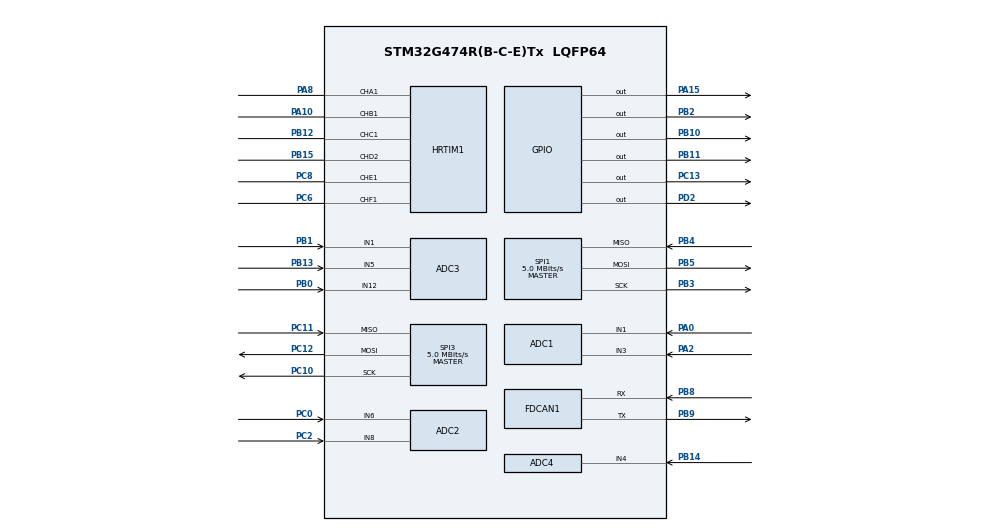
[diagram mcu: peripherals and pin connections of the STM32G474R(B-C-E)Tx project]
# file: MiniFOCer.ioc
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ADC1.Channel-0\#ChannelRegularConversion=ADC_CHANNEL_1
ADC1.Channel-1\#ChannelRegularConversion=ADC_CHANNEL_3
ADC1.ContinuousConvMode=ENABLE
ADC1.DMAContinuousRequests=ENABLE
ADC1.NbrOfConversion=2
ADC1.NbrOfConversionFlag=1
ADC1.OffsetNumber-0\#ChannelRegularConversion=ADC_OFFSET_NONE
ADC1.OffsetNumber-1\#ChannelRegularConversion=ADC_OFFSET_NONE
ADC1.OversamplingMode=ENABLE
ADC1.Rank-0\#ChannelRegularConversion=1
ADC1.Rank-1\#ChannelRegularConversion=2
ADC1.Ratio=ADC_OVERSAMPLING_RATIO_4
ADC1.RightBitShift=ADC_RIGHTBITSHIFT_2
ADC1.SamplingTime-0\#ChannelRegularConversion=ADC_SAMPLETIME_12CYCLES_5
ADC1.SamplingTime-1\#ChannelRegularConversion=ADC_SAMPLETIME_12CYCLES_5
ADC1.master=1
ADC2.Channel-1\#ChannelRegularConversion=ADC_CHANNEL_6
ADC2.Channel-2\#ChannelRegularConversion=ADC_CHANNEL_8
ADC2.ContinuousConvMode=ENABLE
ADC2.DMAContinuousRequests=ENABLE
ADC2.NbrOfConversion=2
ADC2.NbrOfConversionFlag=1
ADC2.OffsetNumber-1\#ChannelRegularConversion=ADC_OFFSET_NONE
ADC2.OffsetNumber-2\#ChannelRegularConversion=ADC_OFFSET_NONE
ADC2.OversamplingMode=ENABLE
ADC2.Rank-1\#ChannelRegularConversion=1
ADC2.Rank-2\#ChannelRegularConversion=2
ADC2.Ratio=ADC_OVERSAMPLING_RATIO_4
ADC2.RightBitShift=ADC_RIGHTBITSHIFT_2
ADC2.SamplingTime-1\#ChannelRegularConversion=ADC_SAMPLETIME_12CYCLES_5
ADC2.SamplingTime-2\#ChannelRegularConversion=ADC_SAMPLETIME_12CYCLES_5
ADC3.Channel-0\#ChannelRegularConversion=ADC_CHANNEL_1
ADC3.Channel-1\#ChannelRegularConversion=ADC_CHANNEL_5
ADC3.Channel-2\#ChannelRegularConversion=ADC_CHANNEL_12
ADC3.ContinuousConvMode=ENABLE
ADC3.DMAContinuousRequests=ENABLE
ADC3.NbrOfConversion=3
ADC3.NbrOfConversionFlag=1
ADC3.OffsetNumber-0\#ChannelRegularConversion=ADC_OFFSET_NONE
ADC3.OffsetNumber-1\#ChannelRegularConversion=ADC_OFFSET_NONE
ADC3.OffsetNumber-2\#ChannelRegularConversion=ADC_OFFSET_NONE
ADC3.Rank-0\#ChannelRegularConversion=1
ADC3.Rank-1\#ChannelRegularConversion=2
ADC3.Rank-2\#ChannelRegularConversion=3
ADC3.SamplingTime-0\#ChannelRegularConversion=ADC_SAMPLETIME_640CYCLES_5
ADC3.SamplingTime-1\#ChannelRegularConversion=ADC_SAMPLETIME_640CYCLES_5
ADC3.SamplingTime-2\#ChannelRegularConversion=ADC_SAMPLETIME_640CYCLES_5
ADC3.master=1
ADC4.Channel-0\#ChannelRegularConversion=ADC_CHANNEL_4
ADC4.ContinuousConvMode=ENABLE
ADC4.DMAContinuousRequests=ENABLE
ADC4.NbrOfConversionFlag=1
ADC4.OffsetNumber-0\#ChannelRegularConversion=ADC_OFFSET_NONE
ADC4.Rank-0\#ChannelRegularConversion=1
ADC4.SamplingTime-0\#ChannelRegularConversion=ADC_SAMPLETIME_92CYCLES_5
Dma.ADC1.0.Direction=DMA_PERIPH_TO_MEMORY
Dma.ADC1.0.EventEnable=DISABLE
Dma.ADC1.0.Instance=DMA1_Channel1
Dma.ADC1.0.MemDataAlignment=DMA_MDATAALIGN_HALFWORD
Dma.ADC1.0.MemInc=DMA_MINC_ENABLE
Dma.ADC1.0.Mode=DMA_CIRCULAR
Dma.ADC1.0.PeriphDataAlignment=DMA_PDATAALIGN_HALFWORD
Dma.ADC1.0.PeriphInc=DMA_PINC_DISABLE
Dma.ADC1.0.Polarity=HAL_DMAMUX_REQ_GEN_RISING
Dma.ADC1.0.Priority=DMA_PRIORITY_HIGH
Dma.ADC1.0.RequestNumber=1
Dma.ADC1.0.SignalID=NONE
Dma.ADC1.0.SyncEnable=DISABLE
Dma.ADC1.0.SyncPolarity=HAL_DMAMUX_SYNC_NO_EVENT
Dma.ADC1.0.SyncRequestNumber=1
Dma.ADC1.0.SyncSignalID=NONE
Dma.ADC2.1.Direction=DMA_PERIPH_TO_MEMORY
Dma.ADC2.1.EventEnable=DISABLE
Dma.ADC2.1.Instance=DMA2_Channel1
Dma.ADC2.1.MemDataAlignment=DMA_MDATAALIGN_HALFWORD
Dma.ADC2.1.MemInc=DMA_MINC_ENABLE
Dma.ADC2.1.Mode=DMA_CIRCULAR
Dma.ADC2.1.PeriphDataAlignment=DMA_PDATAALIGN_HALFWORD
Dma.ADC2.1.PeriphInc=DMA_PINC_DISABLE
Dma.ADC2.1.Polarity=HAL_DMAMUX_REQ_GEN_RISING
Dma.ADC2.1.Priority=DMA_PRIORITY_HIGH
Dma.ADC2.1.RequestNumber=1
Dma.ADC2.1.SignalID=NONE
Dma.ADC2.1.SyncEnable=DISABLE
Dma.ADC2.1.SyncPolarity=HAL_DMAMUX_SYNC_NO_EVENT
Dma.ADC2.1.SyncRequestNumber=1
Dma.ADC2.1.SyncSignalID=NONE
Dma.ADC3.2.Direction=DMA_PERIPH_TO_MEMORY
Dma.ADC3.2.EventEnable=DISABLE
Dma.ADC3.2.Instance=DMA1_Channel2
Dma.ADC3.2.MemDataAlignment=DMA_MDATAALIGN_HALFWORD
Dma.ADC3.2.MemInc=DMA_MINC_ENABLE
Dma.ADC3.2.Mode=DMA_CIRCULAR
Dma.ADC3.2.PeriphDataAlignment=DMA_PDATAALIGN_HALFWORD
Dma.ADC3.2.PeriphInc=DMA_PINC_DISABLE
Dma.ADC3.2.Polarity=HAL_DMAMUX_REQ_GEN_RISING
Dma.ADC3.2.Priority=DMA_PRIORITY_LOW
Dma.ADC3.2.RequestNumber=1
Dma.ADC3.2.SignalID=NONE
Dma.ADC3.2.SyncEnable=DISABLE
Dma.ADC3.2.SyncPolarity=HAL_DMAMUX_SYNC_NO_EVENT
Dma.ADC3.2.SyncRequestNumber=1
Dma.ADC3.2.SyncSignalID=NONE
Dma.ADC4.3.Direction=DMA_PERIPH_TO_MEMORY
Dma.ADC4.3.EventEnable=DISABLE
Dma.ADC4.3.Instance=DMA2_Channel2
Dma.ADC4.3.MemDataAlignment=DMA_MDATAALIGN_HALFWORD
Dma.ADC4.3.MemInc=DMA_MINC_ENABLE
Dma.ADC4.3.Mode=DMA_CIRCULAR
Dma.ADC4.3.PeriphDataAlignment=DMA_PDATAALIGN_HALFWORD
Dma.ADC4.3.PeriphInc=DMA_PINC_DISABLE
Dma.ADC4.3.Polarity=HAL_DMAMUX_REQ_GEN_RISING
Dma.ADC4.3.Priority=DMA_PRIORITY_LOW
Dma.ADC4.3.RequestNumber=1
Dma.ADC4.3.SignalID=NONE
Dma.ADC4.3.SyncEnable=DISABLE
Dma.ADC4.3.SyncPolarity=HAL_DMAMUX_SYNC_NO_EVENT
Dma.ADC4.3.SyncRequestNumber=1
Dma.ADC4.3.SyncSignalID=NONE
Dma.Request0=ADC1
Dma.Request1=ADC2
Dma.Request2=ADC3
Dma.Request3=ADC4
FDCAN1.CalculateBaudRateNominal=1000000
FDCAN1.CalculateTimeBitNominal=1000
FDCAN1.CalculateTimeQuantumNominal=31.25
FDCAN1.DataSyncJumpWidth=7
FDCAN1.DataTimeSeg1=23
FDCAN1.DataTimeSeg2=8
FDCAN1.NominalPrescaler=5
FDCAN1.NominalSyncJumpWidth=7
FDCAN1.NominalTimeSeg1=23
FDCAN1.NominalTimeSeg2=8
HRTIM1.CompareUnit1-Output_TA1=HRTIM_COMPAREUNIT_1
HRTIM1.CompareUnit1-Output_TB1=HRTIM_COMPAREUNIT_1
HRTIM1.CompareUnit1-Output_TC1=HRTIM_COMPAREUNIT_1
HRTIM1.CompareUnit1-Output_TD2=HRTIM_COMPAREUNIT_1
HRTIM1.CompareUnit1-Output_TE1=HRTIM_COMPAREUNIT_1
HRTIM1.CompareUnit1-Output_TF1=HRTIM_COMPAREUNIT_1
HRTIM1.CompareUnit2-Output_TD2=__NULL
HRTIM1.CompareUnit3-Output_TA1=HRTIM_COMPAREUNIT_3
HRTIM1.CompareUnit3-Output_TB1=HRTIM_COMPAREUNIT_3
HRTIM1.CompareUnit3-Output_TC1=HRTIM_COMPAREUNIT_3
HRTIM1.CompareUnit3-Output_TD2=HRTIM_COMPAREUNIT_3
HRTIM1.CompareUnit3-Output_TE1=HRTIM_COMPAREUNIT_3
HRTIM1.CompareUnit3-Output_TF1=HRTIM_COMPAREUNIT_3
HRTIM1.InterruptRequests1-Output_TA1=HRTIM_TIM_IT_UPD
HRTIM1.NumberFaultEnable-Output_TF1=0
HRTIM1.NumberInterruptRequests-Output_TA1=1
HRTIM1.NumberResetSource1-Output_TA1=1
HRTIM1.NumberResetSource1-Output_TB1=1
HRTIM1.NumberResetSource1-Output_TC1=1
HRTIM1.NumberResetSource1-Output_TE1=1
HRTIM1.NumberResetSource1-Output_TF1=1
HRTIM1.NumberResetSource2-Output_TD2=1
HRTIM1.NumberSetSource1-Output_TA1=1
HRTIM1.NumberSetSource1-Output_TB1=1
HRTIM1.NumberSetSource1-Output_TC1=1
HRTIM1.NumberSetSource1-Output_TE1=1
HRTIM1.NumberSetSource1-Output_TF1=1
HRTIM1.NumberSetSource2-Output_TD2=1
HRTIM1.NumberUpdateTrigger-Output_TA1=0
HRTIM1.NumberUpdateTrigger-Output_TB1=0
HRTIM1.NumberUpdateTrigger-Output_TD2=0
HRTIM1.NumberUpdateTrigger-Output_TE1=0
HRTIM1.NumberUpdateTrigger-Output_TF1=0
HRTIM1.Periode_MASTER=63999
HRTIM1.Periode_TA=63999
HRTIM1.Periode_TB=63999
HRTIM1.Periode_TC=63999
HRTIM1.Periode_TD=63999
HRTIM1.Periode_TE=63999
HRTIM1.Periode_TF=63999
HRTIM1.PreloadEnable-Output_TA1=HRTIM_PRELOAD_ENABLED
HRTIM1.PreloadEnable-Output_TB1=HRTIM_PRELOAD_ENABLED
HRTIM1.PreloadEnable-Output_TC1=HRTIM_PRELOAD_ENABLED
HRTIM1.PreloadEnable-Output_TD2=HRTIM_PRELOAD_ENABLED
HRTIM1.PreloadEnable-Output_TE1=HRTIM_PRELOAD_ENABLED
HRTIM1.PreloadEnable-Output_TF1=HRTIM_PRELOAD_ENABLED
HRTIM1.PrescalerRatio_MASTER=HRTIM_PRESCALERRATIO_MUL8
HRTIM1.PrescalerRatio_TA=HRTIM_PRESCALERRATIO_MUL8
HRTIM1.PrescalerRatio_TB=HRTIM_PRESCALERRATIO_MUL8
HRTIM1.PrescalerRatio_TC=HRTIM_PRESCALERRATIO_MUL8
HRTIM1.PrescalerRatio_TD=HRTIM_PRESCALERRATIO_MUL8
HRTIM1.PrescalerRatio_TE=HRTIM_PRESCALERRATIO_MUL8
HRTIM1.PrescalerRatio_TF=HRTIM_PRESCALERRATIO_MUL8
HRTIM1.RepetitionCounter-Output_TA1=0
HRTIM1.RepetitionCounter-Output_TB1=0
HRTIM1.RepetitionCounter-Output_TC1=0
HRTIM1.RepetitionCounter-Output_TD2=0
HRTIM1.RepetitionCounter-Output_TE1=0
HRTIM1.RepetitionCounter-Output_TF1=0
HRTIM1.RepetitionUpdate-Output_TA1=HRTIM_UPDATEONREPETITION_ENABLED
HRTIM1.RepetitionUpdate-Output_TB1=HRTIM_UPDATEONREPETITION_ENABLED
HRTIM1.RepetitionUpdate-Output_TC1=HRTIM_UPDATEONREPETITION_ENABLED
HRTIM1.RepetitionUpdate-Output_TD2=HRTIM_UPDATEONREPETITION_ENABLED
HRTIM1.RepetitionUpdate-Output_TE1=HRTIM_UPDATEONREPETITION_ENABLED
HRTIM1.RepetitionUpdate-Output_TF1=HRTIM_UPDATEONREPETITION_ENABLED
HRTIM1.ResetOutput1_Source1-Output_TA1=HRTIM_OUTPUTRESET_TIMCMP3
HRTIM1.ResetOutput1_Source1-Output_TB1=HRTIM_OUTPUTRESET_TIMCMP3
HRTIM1.ResetOutput1_Source1-Output_TC1=HRTIM_OUTPUTRESET_TIMCMP3
HRTIM1.ResetOutput1_Source1-Output_TE1=HRTIM_OUTPUTRESET_TIMCMP3
HRTIM1.ResetOutput1_Source1-Output_TF1=HRTIM_OUTPUTRESET_TIMCMP3
HRTIM1.ResetOutput2_Source1-Output_TD2=HRTIM_OUTPUTRESET_TIMCMP3
HRTIM1.ResetUpdate-Output_TA1=HRTIM_TIMUPDATEONRESET_DISABLED
HRTIM1.SetOutput1_Source1-Output_TA1=HRTIM_OUTPUTSET_TIMCMP1
HRTIM1.SetOutput1_Source1-Output_TB1=HRTIM_OUTPUTSET_TIMCMP1
HRTIM1.SetOutput1_Source1-Output_TC1=HRTIM_OUTPUTSET_TIMCMP1
HRTIM1.SetOutput1_Source1-Output_TE1=HRTIM_OUTPUTSET_TIMCMP1
HRTIM1.SetOutput1_Source1-Output_TF1=HRTIM_OUTPUTSET_TIMCMP1
HRTIM1.SetOutput2_Source1-Output_TD2=HRTIM_OUTPUTSET_TIMCMP1
Mcu.Family=STM32G4
Mcu.Name=STM32G474R(B-C-E)Tx
Mcu.Package=LQFP64
NVIC.FDCAN1_IT0_IRQn=true\:10\:0\:true\:false\:true\:true\:true\:true
NVIC.HRTIM1_TIMA_IRQn=true\:1\:0\:true\:false\:true\:true\:true\:true
NVIC.PriorityGroup=NVIC_PRIORITYGROUP_4
NVIC.SPI1_IRQn=true\:0\:0\:false\:false\:true\:true\:true\:true
NVIC.SPI3_IRQn=true\:0\:0\:false\:false\:true\:true\:true\:true
NVIC.TIM6_DAC_IRQn=true\:0\:0\:false\:false\:true\:true\:true\:true
NVIC.TIM7_DAC_IRQn=true\:0\:0\:false\:false\:true\:true\:true\:true
PA0.Mode=IN1-Single-Ended
PA0.Signal=ADC1_IN1
PA10.Mode=Output_TB1
PA10.Signal=HRTIM1_CHB1
PA13.Mode=Serial_Wire
PA13.Signal=SYS_JTMS-SWDIO
PA14.Mode=Serial_Wire
PA14.Signal=SYS_JTCK-SWCLK
PA15.PinState=GPIO_PIN_SET
PA15.Signal=GPIO_Output
PA2.Mode=IN3-Single-Ended
PA2.Signal=ADC1_IN3
PA8.Mode=Output_TA1
PA8.Signal=HRTIM1_CHA1
PB0.Mode=IN12-Single-Ended
PB0.Signal=ADC3_IN12
PB1.Mode=IN1-Single-Ended
PB1.Signal=ADC3_IN1
PB10.Signal=GPIO_Output
PB11.Signal=GPIO_Output
PB12.Mode=Output_TC1
PB12.Signal=HRTIM1_CHC1
PB13.Mode=IN5-Single-Ended
PB13.Signal=ADC3_IN5
PB14.Mode=IN4-Single-Ended
PB14.Signal=ADC4_IN4
PB15.Mode=Output_TD2
PB15.Signal=HRTIM1_CHD2
PB2.PinState=GPIO_PIN_SET
PB2.Signal=GPIO_Output
PB3.Mode=Full_Duplex_Master
PB3.Signal=SPI1_SCK
PB4.Mode=Full_Duplex_Master
PB4.Signal=SPI1_MISO
PB5.Mode=Full_Duplex_Master
PB5.Signal=SPI1_MOSI
PB8-BOOT0.Mode=FDCAN_Activate
PB8-BOOT0.Signal=FDCAN1_RX
PB9.Mode=FDCAN_Activate
PB9.Signal=FDCAN1_TX
PC0.Mode=IN6-Single-Ended
PC0.Signal=ADC2_IN6
PC10.Mode=Full_Duplex_Master
PC10.Signal=SPI3_SCK
PC11.Mode=Full_Duplex_Master
PC11.Signal=SPI3_MISO
PC12.Mode=Full_Duplex_Master
PC12.Signal=SPI3_MOSI
PC13.PinState=GPIO_PIN_SET
PC13.Signal=GPIO_Output
PC2.Mode=IN8-Single-Ended
PC2.Signal=ADC2_IN8
PC6.Mode=Output_TF1
PC6.Signal=HRTIM1_CHF1
PC8.Mode=Output_TE1
PC8.Signal=HRTIM1_CHE1
PD2.PinState=GPIO_PIN_SET
PD2.Signal=GPIO_Output
ProjectManager.HeapSize=0x200
ProjectManager.StackSize=0x400
ProjectManager.TargetToolchain=CMake
RCC.ADC12Freq_Value=160000000
RCC.ADC345Freq_Value=160000000
RCC.AHBFreq_Value=160000000
RCC.APB1Freq_Value=160000000
RCC.APB1TimFreq_Value=160000000
RCC.APB2Freq_Value=160000000
RCC.APB2TimFreq_Value=160000000
RCC.CortexFreq_Value=160000000
RCC.EXTERNAL_CLOCK_VALUE=12288000
RCC.HCLKFreq_Value=160000000
RCC.HSE_VALUE=8000000
RCC.HSI48_VALUE=48000000
RCC.HSI_VALUE=16000000
RCC.LSE_VALUE=32768
RCC.PLLN=20
RCC.SYSCLKFreq_VALUE=160000000
RCC.SYSCLKSource=RCC_SYSCLKSOURCE_PLLCLK
RCC.USBFreq_Value=160000000
RCC.VCOOutputFreq_Value=320000000
SPI1.BaudRatePrescaler=SPI_BAUDRATEPRESCALER_32
SPI1.CLKPhase=SPI_PHASE_2EDGE
SPI1.CLKPolarity=SPI_POLARITY_HIGH
SPI1.CalculateBaudRate=5.0 MBits/s
SPI1.DataSize=SPI_DATASIZE_16BIT
SPI1.Direction=SPI_DIRECTION_2LINES
SPI1.Mode=SPI_MODE_MASTER
SPI1.VirtualType=VM_MASTER
SPI3.BaudRatePrescaler=SPI_BAUDRATEPRESCALER_32
SPI3.CLKPhase=SPI_PHASE_2EDGE
SPI3.CLKPolarity=SPI_POLARITY_HIGH
SPI3.CalculateBaudRate=5.0 MBits/s
SPI3.DataSize=SPI_DATASIZE_16BIT
SPI3.Direction=SPI_DIRECTION_2LINES
SPI3.Mode=SPI_MODE_MASTER
SPI3.VirtualType=VM_MASTER
TIM2.Prescaler=159
TIM6.PeriodNoDither=999
TIM6.Prescaler=15999
TIM7.PeriodNoDither=999
TIM7.Prescaler=15999
VP_HRTIM1_VS_hrtimMasterTimerNoOutput.Mode=MasterTimer
VP_SYS_VS_DBSignals.Mode=DisableDeadBatterySignals
VP_TIM2_VS_ClockSourceINT.Mode=Internal
VP_TIM6_VS_ClockSourceINT.Mode=Enable_Timer
VP_TIM7_VS_ClockSourceINT.Mode=Enable_Timer
VREF+.Mode=InternalMode
VREF+.Signal=VREFBUF_OUT
board=custom

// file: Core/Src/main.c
/* USER CODE BEGIN Header */
/**
  ******************************************************************************
  * @file           : main.c
  * @brief          : Main program body
  ******************************************************************************
  * @attention
  *
  * Copyright (c) 2025 STMicroelectronics.
  * All rights reserved.
  *
  * This software is licensed under terms that can be found in the LICENSE file
  * in the root directory of this software component.
  * If no LICENSE file comes with this software, it is provided AS-IS.
  *
  ******************************************************************************
  */
/* USER CODE END Header */
#include "main.h"
#include "adc.h"
#include "dma.h"
#include "fdcan.h"
#include "hrtim.h"
#include "spi.h"
#include "tim.h"
#include "gpio.h"

/* USER CODE BEGIN Includes */
#include <math.h>
#include <string.h>
#include <stdbool.h>
#include <stdlib.h>
#include "defines.h"
#include "FastMath.h"
#include "FOC.h"
#include "A1333.h"
#include "CANBuf.h"
/* USER CODE END Includes */

/* USER CODE BEGIN PTD */
typedef struct
{
  uint8_t n_poles;
  float kv, Res, Ind;
  uint16_t encoder_os;
} motor_t;
/* USER CODE END PTD */

/* USER CODE BEGIN PV */
FDCAN_RxHeaderTypeDef RxHeader;
uint8_t RxData[64];
FDCAN_TxHeaderTypeDef TxHeader;
uint8_t TxData[64];

// FOC variables
FOC_data* FOC1;
FOC_data* FOC2;

// Motor variables
volatile float TargetCurrent1 = 2.0f, TargetCurrent2 = 2.0f;
float MaxCurrent = 20.0f, MaxAbsCurrent = 40.0f;
motor_t motor_1 = {
  .Ind = 120e-6,
  .Res = 0.26,
  .kv = 360,
  .n_poles = 7,
};
motor_t motor_2 = {
  .Ind = 120e-6,
  .Res = 0.26,
  .kv = 360,
  .n_poles = 7,
};

// Power status variables
float V_bus = 0.0f, V_drv = 0.0f;
float UVLO_thresh = 12.0f, UVLO_hyst = 0.5f;

// Encoders
#ifdef CAN_CONFIG_2
A1333_t encoder_2 = {
  .SPIx = SPI3,
  .CS_Port = GPIOA,
  .CS_Pin = LL_GPIO_PIN_15,
  .micros = &(TIM2->CNT),
};
A1333_t encoder_1 = {
  .SPIx = SPI1,
  .CS_Port = GPIOD,
  .CS_Pin = LL_GPIO_PIN_2,
  .micros = &(TIM2->CNT),
};
#else
A1333_t encoder_1 = {
  .SPIx = SPI3,
  .CS_Port = GPIOA,
  .CS_Pin = LL_GPIO_PIN_15,
  .micros = &(TIM2->CNT),
};
A1333_t encoder_2 = {
  .SPIx = SPI1,
  .CS_Port = GPIOD,
  .CS_Pin = LL_GPIO_PIN_2,
  .micros = &(TIM2->CNT),
};
#endif

// ADC variables
volatile int16_t adc_data[64];
volatile int16_t adc_os[64] = {0};

// timing stuff
uint32_t micros = 0;
volatile bool wait = true;

// CANBus stuff
volatile uint8_t sendCANBus_flag = 0;
CAN_flagBuf CAN_TxBuffer = {0};

// For fun
bool audio_enable_1 = false, audio_enable_2 = false;

// Errors
volatile uint8_t errors = 0;

/* USER CODE END PV */

void SystemClock_Config(void);
/* USER CODE BEGIN PFP */
void resetGateDriver(uint8_t motor);
void disableGateDriver(uint8_t motor);
void writePwm(uint32_t timer, int32_t duty);
void measureEncoderOs(uint8_t motor, float TestCurrent);
void measureMotorKv(uint8_t motor, float TestCurrent);
/* USER CODE END PFP */

int main(void)
{

  /* USER CODE BEGIN 1 */
  // SystemClock_Config();
  // LL_mDelay(1000);
  /* USER CODE END 1 */

  /* MCU Configuration--------------------------------------------------------*/

  /* Reset of all peripherals, Initializes the Flash interface and the Systick. */
  HAL_Init();

  /* Configure the system clock */
  SystemClock_Config();

  /* USER CODE BEGIN SysInit */
  LL_SYSCFG_EnableAnalogBooster();
  /* USER CODE END SysInit */

  /* Initialize all configured peripherals */
  MX_GPIO_Init();
  MX_DMA_Init();
  MX_HRTIM1_Init();
  MX_SPI3_Init();
  MX_ADC1_Init();
  MX_ADC2_Init();
  MX_ADC3_Init();
  MX_FDCAN1_Init();
  MX_SPI1_Init();
  MX_ADC4_Init();
  MX_TIM2_Init();
  MX_TIM6_Init();
  MX_TIM7_Init();
  /* USER CODE BEGIN 2 */
  disableGateDriver(3);

  // allocate memory on heap for FOC data
  FOC1 = (FOC_data*)malloc(sizeof(FOC_data));
  FOC2 = (FOC_data*)malloc(sizeof(FOC_data));
  if (FOC1 == NULL || FOC2 == NULL) {
    // Handle memory allocation failure
    disableGateDriver(3);
    while (1);
  }

  // Disable FPU lazy context save
  FPU->FPCCR &= ~FPU_FPCCR_LSPEN_Msk;

  // Init DWT delay
  CoreDebug->DEMCR |= CoreDebug_DEMCR_TRCENA_Msk;
  DWT->CYCCNT = 0;  // Reset counter
  DWT->CTRL |= DWT_CTRL_CYCCNTENA_Msk;

  // Enable microsecond counter
  LL_TIM_EnableCounter(TIM2);

  // Encoder setup
  A1333_Init(&encoder_1);
  A1333_Init(&encoder_2);

  // Enable ADC1 (motor 2 phase current sensors) with DMA
  LL_ADC_Enable(ADC1);
  while (!LL_ADC_IsActiveFlag_ADRDY(ADC1));
  LL_DMA_SetPeriphAddress(DMA1, LL_DMA_CHANNEL_1, (uint32_t)&ADC1->DR);
  LL_DMA_SetMemoryAddress(DMA1, LL_DMA_CHANNEL_1, (uint32_t)&adc_data[0]);
  LL_DMA_SetDataLength(DMA1, LL_DMA_CHANNEL_1, 2);
  LL_DMA_EnableChannel(DMA1, LL_DMA_CHANNEL_1);
  LL_ADC_REG_StartConversion(ADC1);

  // Enable ADC2 (motor 1 phase current sensors) with DMA
  LL_ADC_Enable(ADC2);
  while (!LL_ADC_IsActiveFlag_ADRDY(ADC2));
  LL_DMA_SetPeriphAddress(DMA2, LL_DMA_CHANNEL_1, (uint32_t)&ADC2->DR);
  LL_DMA_SetMemoryAddress(DMA2, LL_DMA_CHANNEL_1, (uint32_t)&adc_data[2]);
  LL_DMA_SetDataLength(DMA2, LL_DMA_CHANNEL_1, 2);
  LL_DMA_EnableChannel(DMA2, LL_DMA_CHANNEL_1);
  LL_ADC_REG_StartConversion(ADC2);

  // Enable ADC3 (bus and drive voltage, audio 1) with DMA
  LL_ADC_Enable(ADC3);
  while (!LL_ADC_IsActiveFlag_ADRDY(ADC3));
  LL_DMA_SetPeriphAddress(DMA1, LL_DMA_CHANNEL_2, (uint32_t)&ADC3->DR);
  LL_DMA_SetMemoryAddress(DMA1, LL_DMA_CHANNEL_2, (uint32_t)&adc_data[4]);
  LL_DMA_SetDataLength(DMA1, LL_DMA_CHANNEL_2, 3);
  LL_DMA_EnableChannel(DMA1, LL_DMA_CHANNEL_2);
  LL_ADC_REG_StartConversion(ADC3);

  // Enable ADC4 (audio 2) with DMA
  LL_ADC_Enable(ADC4);
  while (!LL_ADC_IsActiveFlag_ADRDY(ADC4));
  LL_DMA_SetPeriphAddress(DMA2, LL_DMA_CHANNEL_2, (uint32_t)&ADC4->DR);
  LL_DMA_SetMemoryAddress(DMA2, LL_DMA_CHANNEL_2, (uint32_t)&adc_data[7]);
  LL_DMA_SetDataLength(DMA2, LL_DMA_CHANNEL_2, 1);
  LL_DMA_EnableChannel(DMA2, LL_DMA_CHANNEL_2);
  LL_ADC_REG_StartConversion(ADC4);

  // CANbus setup
  TxHeader.BitRateSwitch = FDCAN_BRS_OFF;
  TxHeader.DataLength = FDCAN_DLC_BYTES_8;
  TxHeader.ErrorStateIndicator = FDCAN_ESI_ACTIVE;
  TxHeader.FDFormat = FDCAN_CLASSIC_CAN;
  TxHeader.Identifier = CAN_STAT1_ID;
  TxHeader.IdType = FDCAN_EXTENDED_ID;
  TxHeader.MessageMarker = 0;
  TxHeader.TxEventFifoControl = FDCAN_NO_TX_EVENTS;
  TxHeader.TxFrameType = FDCAN_DATA_FRAME;
  CAN_TxBuffer.bot = 0;
  CAN_TxBuffer.top = 0;

  // calculate DC bus and gate drive voltage
  LL_mDelay(10);
  V_bus = (float)adc_data[6] * 0.008f;
  V_drv = (float)adc_data[4] * 0.008f;

  // initialize FOC variables
  FOC1->integ_d = 0.0f;
  FOC1->integ_q = 0.0f;
  FOC1->motor_speed = 0.0f;
  FOC1->TargetCurrent = 0.0f;
  FOC1->TargetFieldWk = 0.0f;
  FOC1->U_TIMER = U1_TIMER;
  FOC1->V_TIMER = V1_TIMER;
  FOC1->W_TIMER = W1_TIMER;
  FOC1->motor_kv = 0.1911f; FOC1->V_bus = 14.8f;
  FOC2->integ_d = 0.0f;
  FOC2->integ_q = 0.0f;
  FOC2->motor_speed = 0.0f;
  FOC2->TargetCurrent = 0.0f;
  FOC2->TargetFieldWk = 0.0f;
  FOC2->U_TIMER = U2_TIMER;
  FOC2->V_TIMER = V2_TIMER;
  FOC2->W_TIMER = W2_TIMER;
  FOC2->motor_kv = 0.1911f; FOC2->V_bus = 14.8f;
  // FOC1->Kp_Iq = (80000 >> FOC1->F_sw) * motor_1.Ind / V_bus;
  // FOC1->Ki_Iq = (80000 >> FOC1->F_sw) * motor_1.Res / V_bus;
  // FOC2->Kp_Iq = (80000 >> FOC2->F_sw) * motor_2.Ind / V_bus;
  // FOC2->Ki_Iq = (80000 >> FOC2->F_sw) * motor_2.Res / V_bus;
  // FOC1->Kp_Id = (80000 >> FOC1->F_sw) * motor_1.Ind / V_bus;
  // FOC1->Ki_Id = (80000 >> FOC1->F_sw) * motor_1.Res / V_bus;
  // FOC2->Kp_Id = (80000 >> FOC2->F_sw) * motor_2.Ind / V_bus;
  // FOC2->Ki_Id = (80000 >> FOC2->F_sw) * motor_2.Res / V_bus;
  FOC1->Kp_Iq = 0.05f;
  FOC1->Ki_Iq = 100.0f;
  FOC2->Kp_Iq = 0.05f;
  FOC2->Ki_Iq = 100.0f;
  FOC1->Kp_Id = 0.05f;
  FOC1->Ki_Id = 100.0f;
  FOC2->Kp_Id = 0.05f;
  FOC2->Ki_Id = 100.0f;

  // measure ADC offset
  for (uint16_t i = 0; i < 100; i++){
    LL_mDelay(10);
    adc_os[0] = (adc_os[0]*3 + adc_data[0] + 2) >> 2;
    adc_os[1] = (adc_os[1]*3 + adc_data[1] + 2) >> 2;
    adc_os[2] = (adc_os[2]*3 + adc_data[2] + 2) >> 2;
    adc_os[3] = (adc_os[3]*3 + adc_data[3] + 2) >> 2;
    adc_os[4] = (adc_os[4]*3 + adc_data[4] + 2) >> 2;
    adc_os[5] = (adc_os[5]*3 + adc_data[5] + 2) >> 2;
    adc_os[6] = (adc_os[6]*3 + adc_data[6] + 2) >> 2;
    adc_os[7] = (adc_os[7]*3 + adc_data[7] + 2) >> 2;
  }

  // Enable HRTIM (gate drive signals)
  FOC1->F_sw = LL_HRTIM_TIM_GetPrescaler(HRTIM1, U1_TIMER);
  FOC2->F_sw = LL_HRTIM_TIM_GetPrescaler(HRTIM1, U2_TIMER);
  writePwm(U1_TIMER, 0);
  writePwm(V1_TIMER, 0);
  writePwm(W1_TIMER, 0);
  writePwm(U2_TIMER, 0);
  writePwm(V2_TIMER, 0);
  writePwm(W2_TIMER, 0);
  LL_HRTIM_EnableOutput(HRTIM1,
    LL_HRTIM_OUTPUT_TA1|
    LL_HRTIM_OUTPUT_TB1|
    LL_HRTIM_OUTPUT_TC1|
    LL_HRTIM_OUTPUT_TD2|
    LL_HRTIM_OUTPUT_TE1|
    LL_HRTIM_OUTPUT_TF1
  );
  LL_HRTIM_TIM_CounterEnable(HRTIM1, LL_HRTIM_TIMER_MASTER
    |U1_TIMER|V1_TIMER|W1_TIMER
    |U2_TIMER|V2_TIMER|W2_TIMER
  );

  // enable HRTIM timer A interrupt(FOC calculations)
  LL_HRTIM_EnableIT_UPDATE(HRTIM1, LL_HRTIM_TIMER_A);

  // LL_mDelay(500);
  measureEncoderOs(3, 5);
  // measureMotorKv(3, 10);
  resetGateDriver(3);
  HAL_FDCAN_Start(&hfdcan1);
  HAL_FDCAN_ActivateNotification(&hfdcan1, FDCAN_IT_RX_FIFO0_NEW_MESSAGE, 0);
  /* USER CODE END 2 */

  /* Infinite loop */
  /* USER CODE BEGIN WHILE */
  // Enable drive-enable timeout counters
  LL_TIM_EnableIT_UPDATE(TIM6);
  LL_TIM_EnableCounter(TIM6);
  LL_TIM_EnableIT_UPDATE(TIM7);
  LL_TIM_EnableCounter(TIM7);
  uint32_t lastCanSendTime = 0;
  while (1)
  {
    micros = TIM2->CNT;

    // calculate DC bus and gate drive voltage
    V_bus = (float)adc_data[6] * 0.008f;
    V_drv = (float)adc_data[4] * 0.008f;

    // move encoder info to FOC struct
    __disable_irq();
    __ASM("nop");
    __ASM("nop");
    __ASM("nop");
    __ASM("nop");
    __ASM("nop");
    wait = true;
    FOC1->motor_PhysPosition = encoder_1.angle;
    FOC1->motor_lastMeasTime = encoder_1.sampleTime;
    FOC1->motor_speed = encoder_1.speed;
    FOC1->TargetCurrent = -TargetCurrent1 - audio_enable_1 * (adc_data[7] - adc_os[7]) * 0.01f;
    FOC1->TargetFieldWk = 0.0f; // no field weakening
    FOC1->Encoder_os = motor_1.encoder_os;

    FOC2->motor_PhysPosition = encoder_2.angle;
    FOC2->motor_lastMeasTime = encoder_2.sampleTime;
    FOC2->motor_speed = encoder_2.speed;
    FOC2->TargetCurrent = TargetCurrent2 + audio_enable_2 * (adc_data[5] - adc_os[5]) * 0.01f;
    FOC2->TargetFieldWk = 0.0f; // no field weakening
    FOC2->Encoder_os = motor_2.encoder_os;
    FOC1->V_bus = V_bus; FOC2->V_bus = V_bus;
    // Flush pipeline
    __ASM("nop");
    __ASM("nop");
    __ASM("nop");
    __ASM("nop");
    __ASM("nop");
    __enable_irq();

    // trigger rotor angle measurements
    A1333_Update(&encoder_1);
    A1333_Update(&encoder_2);

    // V_bus UVLO check
    if (V_bus > UVLO_thresh + UVLO_hyst) {
      errors &= (~ERR_UVP);
    }
    else if (V_bus < UVLO_thresh - UVLO_hyst) {
      errors |= ERR_UVP;
      disableGateDriver(3);
    }

    // Motor 1 OCP check
    if (fabsf(FOC1->U_current) > MaxAbsCurrent ||
      fabsf(FOC1->V_current) > MaxAbsCurrent ||
      fabsf(FOC1->W_current) > MaxAbsCurrent) {
      errors |= ERR_M1_OCP;
      disableGateDriver(1);
    }
    // Motor 2 OCP check
    if (fabsf(FOC2->U_current) > MaxAbsCurrent ||
      fabsf(FOC2->V_current) > MaxAbsCurrent ||
      fabsf(FOC2->W_current) > MaxAbsCurrent) {
      errors |= ERR_M2_OCP;
      disableGateDriver(2);
    }

    // Rev limiter TODO: fix
    if (fabsf(encoder_1.speed) > MAX_SPEED) disableGateDriver(1);
    if (fabsf(encoder_1.speed) < MAX_SPEED_RECOV && errors == 0) resetGateDriver(1);
    if (fabsf(encoder_2.speed) > MAX_SPEED) disableGateDriver(2);
    if (fabsf(encoder_2.speed) < MAX_SPEED_RECOV && errors == 0) resetGateDriver(2);

    if (micros - lastCanSendTime > 20000) {
      lastCanSendTime += 20000;
      enQueue(&CAN_TxBuffer, CAN_STAT1_ID);
      enQueue(&CAN_TxBuffer, CAN_STAT2_ID);
      enQueue(&CAN_TxBuffer, CAN_STAT3_ID);
      enQueue(&CAN_TxBuffer, CAN_RDBK_ID);
    }
    deQueue(&CAN_TxBuffer, &hfdcan1);

    while (wait && TIM2->CNT - micros < 100);
    /* USER CODE END WHILE */

  }
}

void SystemClock_Config(void)
{
  LL_FLASH_SetLatency(LL_FLASH_LATENCY_4);
  while(LL_FLASH_GetLatency() != LL_FLASH_LATENCY_4)
  {
  }
  LL_PWR_EnableRange1BoostMode();
  LL_RCC_HSI_Enable();
   /* Wait till HSI is ready */
  while(LL_RCC_HSI_IsReady() != 1)
  {
  }

  LL_RCC_HSI_SetCalibTrimming(64);
  LL_RCC_PLL_ConfigDomain_SYS(LL_RCC_PLLSOURCE_HSI, LL_RCC_PLLM_DIV_1, 20, LL_RCC_PLLR_DIV_2);
  LL_RCC_PLL_EnableDomain_SYS();
  LL_RCC_PLL_Enable();
   /* Wait till PLL is ready */
  while(LL_RCC_PLL_IsReady() != 1)
  {
  }

  LL_RCC_SetSysClkSource(LL_RCC_SYS_CLKSOURCE_PLL);
  LL_RCC_SetAHBPrescaler(LL_RCC_SYSCLK_DIV_2);
   /* Wait till System clock is ready */
  while(LL_RCC_GetSysClkSource() != LL_RCC_SYS_CLKSOURCE_STATUS_PLL)
  {
  }

  /* Insure 1us transition state at intermediate medium speed clock*/
  for (__IO uint32_t i = (170 >> 1); i !=0; i--);

  /* Set AHB prescaler*/
  LL_RCC_SetAHBPrescaler(LL_RCC_SYSCLK_DIV_1);
  LL_RCC_SetAPB1Prescaler(LL_RCC_APB1_DIV_1);
  LL_RCC_SetAPB2Prescaler(LL_RCC_APB2_DIV_1);
  LL_SetSystemCoreClock(160000000);

   /* Update the time base */
  if (HAL_InitTick (TICK_INT_PRIORITY) != HAL_OK)
  {
    Error_Handler();
  }
}

/* USER CODE BEGIN 4 */
void resetGateDriver(uint8_t motor){
  if ((motor & 1) != 0) LL_GPIO_ResetOutputPin(GPIOC, LL_GPIO_PIN_13);
  if ((motor & 2) != 0) LL_GPIO_ResetOutputPin(GPIOB, LL_GPIO_PIN_2);
}
void disableGateDriver(uint8_t motor){
  if ((motor & 1) != 0) LL_GPIO_SetOutputPin(GPIOC, LL_GPIO_PIN_13);
  if ((motor & 2) != 0) LL_GPIO_SetOutputPin(GPIOB, LL_GPIO_PIN_2);
}

void writePwm(uint32_t timer, int32_t duty){
  if (duty < 100) duty = 0;
  else if (duty > 63900) duty = 64000;
  // if (duty > 32000) {
  //   LL_HRTIM_TIM_SetCompare1(HRTIM1, timer, 0);
  //   LL_HRTIM_TIM_SetCompare3(HRTIM1, timer, duty);
  // }
  // else {
  //   LL_HRTIM_TIM_SetCompare1(HRTIM1, timer, 64000 - duty);
  //   LL_HRTIM_TIM_SetCompare3(HRTIM1, timer, 0);
  // }
  LL_HRTIM_TIM_SetCompare1(HRTIM1, timer, 0);
  LL_HRTIM_TIM_SetCompare3(HRTIM1, timer, duty);
}

void measureEncoderOs(uint8_t motor, float TestCurrent){
  if ((motor & 0x1) != 0) {
    disableGateDriver(2);
    resetGateDriver(1);
    FOC1->Encoder_os = 0;
    TIM2->CNT = 0;
    while (TIM2->CNT < 2000000) {
      micros = TIM2->CNT;
      A1333_Update(&encoder_1);
      __disable_irq();
      __ASM("nop");
      __ASM("nop");
      __ASM("nop");
      __ASM("nop");
      __ASM("nop");
      wait = true;
      FOC1->motor_PhysPosition = 0;
      FOC1->TargetCurrent = 0;
      FOC1->TargetFieldWk = TestCurrent;
      FOC1->motor_speed = 0;
      __ASM("nop");
      __ASM("nop");
      __ASM("nop");
      __ASM("nop");
      __ASM("nop");
      __enable_irq();
      while (wait && TIM2->CNT - micros < 20);
    }
    motor_1.encoder_os = encoder_1.angle;
    FOC1->Encoder_os = encoder_1.angle;
    FOC1->TargetFieldWk = 0;
  }
  if ((motor & 0x2) != 0){
    disableGateDriver(1);
    resetGateDriver(2);
    FOC2->Encoder_os = 0;
    TIM2->CNT = 0;
    while (TIM2->CNT < 2000000) {
      micros = TIM2->CNT;
      A1333_Update(&encoder_2);
      __disable_irq();
      __ASM("nop");
      __ASM("nop");
      __ASM("nop");
      __ASM("nop");
      __ASM("nop");
      wait = true;
      FOC2->motor_PhysPosition = 0;
      FOC2->TargetCurrent = 0;
      FOC2->TargetFieldWk = TestCurrent;
      FOC2->motor_speed = 0;
      __ASM("nop");
      __ASM("nop");
      __ASM("nop");
      __ASM("nop");
      __ASM("nop");
      __enable_irq();
      while (wait && TIM2->CNT - micros < 20);
    }
    motor_2.encoder_os = encoder_2.angle;
    FOC2->Encoder_os = encoder_2.angle;
    FOC2->TargetFieldWk = 0;
  }
  disableGateDriver(3);
}

void measureMotorKv(uint8_t motor, float TestCurrent){
  if ((motor & 0x1) != 0) {
    disableGateDriver(2);
    resetGateDriver(1);
    TIM2->CNT = 0;
    float speed = 0;
    while (TIM2->CNT < 1000000 || fabsf(encoder_1.speed - speed) > 0.01f) {
      micros = TIM2->CNT;
      speed = encoder_1.speed;
      A1333_Update(&encoder_1);

      // move encoder info to FOC struct
      __disable_irq();
      __ASM("nop");
      __ASM("nop");
      __ASM("nop");
      __ASM("nop");
      __ASM("nop");
      FOC1->motor_PhysPosition = encoder_1.angle;
      FOC1->motor_lastMeasTime = encoder_1.sampleTime;
      FOC1->motor_speed = encoder_1.speed;
      FOC1->U_current = (adc_data[2] - adc_os[2]) * 0.040584415584415584f;
      FOC1->W_current = (adc_data[3] - adc_os[3]) * -0.040584415584415584f;
      FOC1->V_current = -FOC1->U_current - FOC1->W_current; // assuming balanced currents
      FOC1->TargetCurrent = TestCurrent;
      FOC1->TargetFieldWk = 0.0f; // no field weakening
      // Flush pipeline
      __ASM("nop");
      __ASM("nop");
      __ASM("nop");
      __ASM("nop");
      __ASM("nop");
      __enable_irq();

      while (TIM2->CNT - micros < 31);
    }
    motor_1.kv = encoder_1.speed / V_bus;
    FOC1->motor_kv = motor_1.kv;
  }
  if ((motor & 0x2) != 0) {
    disableGateDriver(1);
    resetGateDriver(2);
    TIM2->CNT = 0;
    float speed = 0;
    while (TIM2->CNT < 1000000 || fabsf(encoder_2.speed - speed) > 0.01f) {
      micros = TIM2->CNT;
      speed = encoder_2.speed;
      A1333_Update(&encoder_2);

      // move encoder info to FOC struct
      __disable_irq();
      __ASM("nop");
      __ASM("nop");
      __ASM("nop");
      __ASM("nop");
      __ASM("nop");
      FOC2->motor_PhysPosition = encoder_2.angle;
      FOC2->motor_lastMeasTime = encoder_2.sampleTime;
      FOC2->motor_speed = encoder_2.speed;
      FOC2->U_current = (adc_data[0] - adc_os[1]) * 0.040584415584415584f;
      FOC2->W_current = (adc_data[0] - adc_os[1]) * -0.040584415584415584f;
      FOC2->V_current = -FOC2->U_current - FOC2->W_current; // assuming balanced currents
      FOC2->TargetCurrent = TestCurrent;
      FOC2->TargetFieldWk = 0.0f; // no field weakening
      // Flush pipeline
      __ASM("nop");
      __ASM("nop");
      __ASM("nop");
      __ASM("nop");
      __ASM("nop");
      __enable_irq();

      while (TIM2->CNT - micros < 31);
    }
    motor_2.kv = encoder_2.speed / V_bus;
    FOC2->motor_kv = motor_2.kv;
  }
  disableGateDriver(3);
}

void HAL_FDCAN_RxFifo0Callback(FDCAN_HandleTypeDef *hfdcan, uint32_t RxFifo0ITs)
{
  if((RxFifo0ITs & FDCAN_IT_RX_FIFO0_NEW_MESSAGE) != 0)
  {
    /* Retrieve Rx messages from RX FIFO0 */
    if (HAL_FDCAN_GetRxMessage(hfdcan, FDCAN_RX_FIFO0, &RxHeader, RxData) != HAL_OK)
    {
      Error_Handler();
    }
    if (RxHeader.Identifier == CAN_CMD_ID) {
      // motor current commands
      int16_t AC_current_raw[2];
      memcpy(&AC_current_raw[0], &RxData[0], 4);
      TargetCurrent1 = AC_current_raw[0] * 0.01f;
      TargetCurrent2 = AC_current_raw[1] * 0.01f;
      // Drive enable 2
      if ((RxData[4] & 0x1) != 0 && (errors & !ERR_M1_OCP) == 0) {
        resetGateDriver(2);
        LL_TIM_SetCounter(TIM7, 0); // reset drive-enable timeout counter
        errors &= (~ERR_DRV_EN_1);
      }
      else {
        disableGateDriver(2);
      }
      // Drive enable 1
      if ((RxData[4] & 0x2) != 0 && (errors & !ERR_M2_OCP) == 0) {
        resetGateDriver(1);
        LL_TIM_SetCounter(TIM6, 0); // reset drive-enable timeout counter
        errors &= (~ERR_DRV_EN_2);
      }
      else {
        disableGateDriver(1);
      }
      // Audio enable 2
      audio_enable_2 = (RxData[4] & 0x4) != 0;
      // Audio enable 1
      audio_enable_1 = (RxData[4] & 0x8) != 0;
    }
    else if (RxHeader.Identifier == CAN_CFG_ID) {
      MaxCurrent = RxData[0] * 0.2f;
      MaxAbsCurrent = RxData[1] * 0.2f;
      UVLO_thresh = RxData[2] * 0.1f;
      UVLO_hyst = RxData[3] * 0.01f;
    }
    else if (RxHeader.Identifier == CAN_SETUP1_ID) {
      motor_1.Res = RxData[0] * 1e-3f;
      motor_1.Ind = RxData[1] * 1e-6f;
      motor_2.Res = RxData[2] * 1e-3f;
      motor_2.Ind = RxData[3] * 1e-6f;
      motor_1.n_poles = RxData[4];
      motor_2.n_poles = RxData[5];
      FOC1->Kp_Iq = (80000 >> FOC1->F_sw) * motor_1.Ind / V_bus;
      FOC1->Ki_Iq = (80000 >> FOC1->F_sw) * motor_1.Res / V_bus;
      FOC2->Kp_Iq = (80000 >> FOC2->F_sw) * motor_2.Ind / V_bus;
      FOC2->Ki_Iq = (80000 >> FOC2->F_sw) * motor_2.Res / V_bus;
      FOC1->Kp_Id = (80000 >> FOC1->F_sw) * motor_1.Ind / V_bus;
      FOC1->Ki_Id = (80000 >> FOC1->F_sw) * motor_1.Res / V_bus;
      FOC2->Kp_Id = (80000 >> FOC2->F_sw) * motor_2.Ind / V_bus;
      FOC2->Ki_Id = (80000 >> FOC2->F_sw) * motor_2.Res / V_bus;
    }
    // else if (RxHeader.Identifier == CAN_SETUP2_ID) {
    //   memcpy(&motor_1.encoder_os, &RxData[0], 2);
    //   memcpy(&motor_2.encoder_os, &RxData[2], 2);
    //   FOC1->Encoder_os = motor_1.encoder_os;
    //   FOC2->Encoder_os = motor_2.encoder_os;
    //   motor_1.kv = RxData[4] * 1.6666666666666667e-7f * N_STEP_ENCODER;
    //   motor_2.kv = RxData[5] * 1.6666666666666667e-7f * N_STEP_ENCODER;
    //   FOC1->motor_kv = motor_1.kv;
    //   FOC2->motor_kv = motor_2.kv;
    //   float TestCurrent1 = RxData[6] * 0.1f;
    //   float TestCurrent2 = RxData[7] * 0.1f;
    //   if (RxData[6] > 0) {
    //     measureEncoderOs(1, TestCurrent1);
    //     // measureMotorKv(1, TestCurrent1);
    //   }
    //   if (RxData[7] > 0) {
    //     measureEncoderOs(2, TestCurrent2);
    //     // measureMotorKv(2, TestCurrent2);
    //   }
    //   enQueue(&CAN_TxBuffer, CAN_RDBK_ID);
    // }
  }
}
/* USER CODE END 4 */

void Error_Handler(void)
{
  __disable_irq();
  while (1)
  {
  }
}
